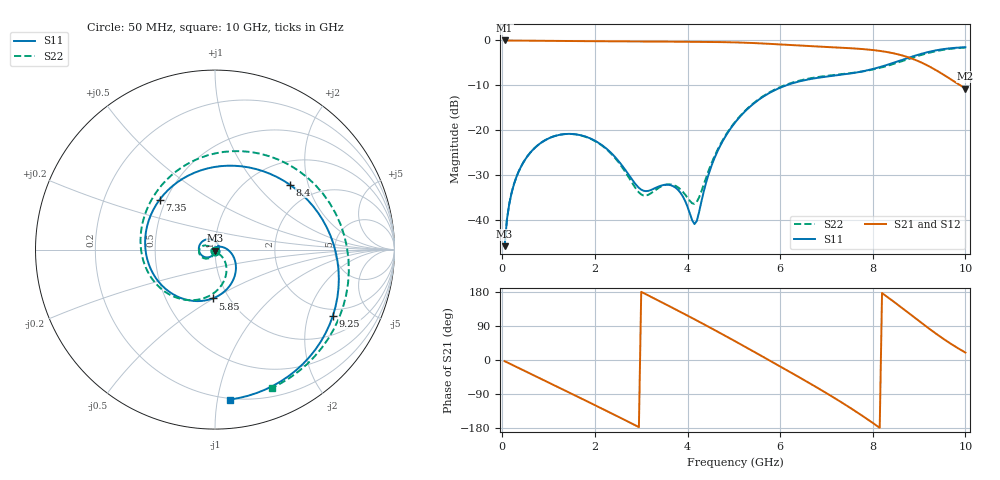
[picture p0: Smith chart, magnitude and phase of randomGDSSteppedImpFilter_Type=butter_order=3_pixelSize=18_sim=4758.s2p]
! freq	dB(S11)	phase(S11)	dB(S12)	phase(S12)
!  dB(S21)	phase(S21)	dB(S22)	phase(S22)
!S-par simulation data
#  GHz  S  DB  R 50
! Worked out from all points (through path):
!   200 points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, 50 MHz to 10 GHz, reference 50 ohm
!   highest |S21| = -0.01 dB at 50 MHz (marker M1); lowest = -10.7 dB at 10 GHz (marker M2)
!   group delay of S21, straight-line fit = 192 ps
!   lowest |S11| = -46.0 dB at 50 MHz (marker M3), VSWR 1.01, Z = 50 - j0.504 ohm
!   |S11| at or under -10 dB: start of sweep to 6.141 GHz
!   |S22| runs from -45.9 to -1.6 dB; largest |S21 - S12| = 0
!   S11 on the Smith chart (normalised r, x): 50 MHz: 1.00, -0.01; 5.85 GHz: 0.84, -0.49; 7.35 GHz: 0.46, +0.31; 8.4 GHz: 1.48, +1.54; 9.25 GHz: 1.71, -2.91; 10 GHz: 0.19, -1.09
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0.05  -45.95 -88.7  -0.01 -3.0  -0.01 -3.0  -45.95 -88.2
0.2  -34.08 -102.1  -0.02 -12.0  -0.02 -12.0  -34.06 -99.9
0.55  -25.77 -126.0  -0.06 -32.8  -0.06 -32.8  -25.76 -120.0
1.15  -21.30 -166.2  -0.12 -68.4  -0.12 -68.4  -21.30 -152.4
1.75  -21.33 151.8  -0.16 -104.1  -0.16 -104.1  -21.36 177.7
2.65  -28.82 67.7  -0.20 -158.6  -0.20 -158.6  -29.26 152.2
3.05  -33.58 -10.2  -0.23 176.8  -0.23 176.8  -34.64 -173.4
3.4  -32.53 -79.1  -0.26 155.0  -0.26 155.0  -32.78 -143.0
3.8  -33.43 -132.0  -0.29 129.8  -0.29 129.8  -32.85 -136.6
4.15  -41.02 132.7  -0.31 107.5  -0.31 107.5  -36.50 -94.6
4.55  -27.11 18.7  -0.35 81.4  -0.35 81.4  -26.63 -44.9
5.05  -18.03 -28.1  -0.44 48.0  -0.44 48.0  -17.90 -59.8
5.85  -11.29 -92.9  -0.81 -6.7  -0.81 -6.7  -11.15 -102.6
6.7  -8.54 -163.2  -1.31 -65.9  -1.31 -65.9  -8.36 -151.4
7.35  -7.63 138.1  -1.64 -113.6  -1.64 -113.6  -7.52 170.1
7.9  -6.63 86.1  -2.04 -157.6  -2.04 -157.6  -6.71 132.6
8.35  -5.33 45.3  -2.67 163.3  -2.67 163.3  -5.56 94.3
8.4  -5.16 40.9  -2.77 158.8  -2.77 158.8  -5.41 89.6
8.8  -3.77 7.1  -3.89 121.6  -3.89 121.6  -4.05 48.8
9.25  -2.46 -29.3  -5.97 79.8  -5.97 79.8  -2.67 1.0
9.6  -1.83 -56.0  -8.12 49.7  -8.12 49.7  -1.98 -33.5
10  -1.52 -84.3  -10.74 19.6  -10.74 19.6  -1.58 -67.8
